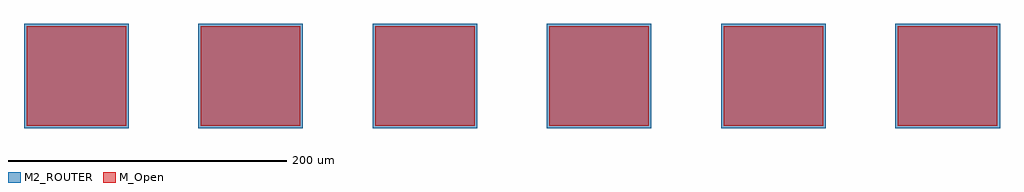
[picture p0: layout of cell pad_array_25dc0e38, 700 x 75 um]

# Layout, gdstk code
import gdstk
lib = gdstk.Library(unit=1e-6, precision=1e-09)
def R(c, l, rs):  # rectangles x0, y0, x1, y1
    for r in rs: c.add(gdstk.rectangle(r[:2], r[2:], *l))
M2_ROUTER = (12, 0)
M_Open = (13, 0)

pad_0210fbc6 = lib.new_cell('pad_0210fbc6')
R(pad_0210fbc6, M2_ROUTER, [(-37.5,-37.5,37.5,37.5)])
R(pad_0210fbc6, M_Open, [(-35.7,-35.7,35.7,35.7)])

pad_array_25dc0e38 = lib.new_cell('pad_array_25dc0e38')
r = gdstk.Reference(pad_0210fbc6, (0,0)); r.repetition = gdstk.Repetition(6, 1, v1=(125,0), v2=(0,125)); pad_array_25dc0e38.add(r)

lib.write_gds('pad_array_25dc0e38.gds')
